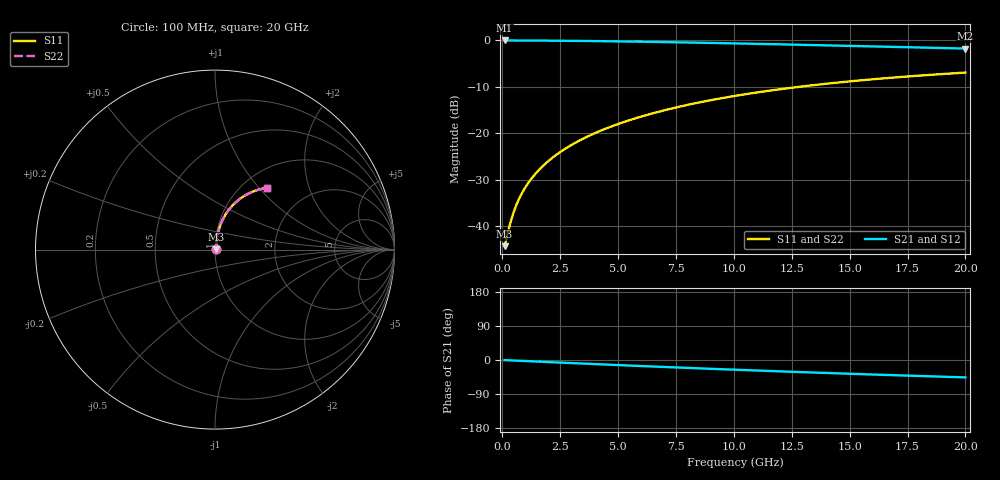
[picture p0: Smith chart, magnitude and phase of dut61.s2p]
! Touchstone file exported from HFSS 2024.1.0
!  File:  C:/UserFiles/LocalFiles/RDL_TSV_Batchsim/temp_RDL_bottom_61_1778693424.aedt
!  Generated:  01:33:02 AM May 14, 2026
!  Design:  RDL_bottom
!  Project:  temp_RDL_bottom_61_1778693424
!  Setup:  Setup1
!  Solution:  Sweep
! Variables:
!  dtsv = 10.80580581um
!  hbump = 3um
!  htsv = 84.22um
!  ldown = 607.99um
!  lrdl = 100um
!  p = 40
!  p1 = 51.73um
!  rhole = 1um
!  t = 450um
!  tdown = 2.17um
!  trdl = 3.915915916um
!  wdown = 18.7um
!  wrdl = 20um
# GHz S MA R 50.000000
! Terminal data exported
! Port[1] = RDL1_T1
! Port[2] = RDL1_T2
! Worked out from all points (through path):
!   200 points, 100 MHz to 20 GHz, reference 50 ohm
!   highest |S21| = -0.05 dB at 100 MHz (marker M1); lowest = -1.8 dB at 20 GHz (marker M2)
!   group delay of S21, straight-line fit = 6.36 ps
!   lowest |S11| = -44.2 dB at 100 MHz (marker M3), VSWR 1.01, Z = 50.6 + j0.271 ohm
!   |S11| at or under -10 dB: start of sweep to 12.83 GHz
!   |S22| runs from -44.2 to -7.0 dB; largest |S21 - S12| = 3e-15
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0.1  0.006147 25.9  0.9945 -0.3  0.9945 -0.3  0.006146 25.9
! Gamma 0 0 0 0
! Port Impedance 50 0 50 0
0.3  0.009851 54.0  0.9942 -0.9  0.9942 -0.9  0.009851 54.0
0.4  0.01213 60.4  0.994 -1.1  0.994 -1.1  0.01213 60.4
0.5  0.01448 64.6  0.9937 -1.4  0.9937 -1.4  0.01448 64.6
0.6  0.01685 67.6  0.9935 -1.7  0.9935 -1.7  0.01685 67.6
0.7  0.01924 69.8  0.9932 -2.0  0.9932 -2.0  0.01924 69.8
0.9  0.02401 72.9  0.9927 -2.5  0.9927 -2.5  0.02401 72.9
1.2  0.0312 75.7  0.9919 -3.3  0.9919 -3.3  0.0312 75.7
1.4  0.03602 76.9  0.9914 -3.9  0.9914 -3.9  0.03602 76.9
1.7  0.04329 78.1  0.9904 -4.7  0.9904 -4.7  0.04329 78.1
2.2  0.05553 79.3  0.9886 -6.0  0.9886 -6.0  0.05553 79.3
2.8  0.07039 79.8  0.986 -7.6  0.986 -7.6  0.07038 79.8
3.5  0.08791 79.8  0.9822 -9.5  0.9822 -9.5  0.0879 79.8
4.2  0.1056 79.3  0.9779 -11.3  0.9779 -11.3  0.1056 79.3
5  0.126 78.4  0.9722 -13.4  0.9722 -13.4  0.1259 78.4
5.9  0.1489 77.1  0.965 -15.7  0.965 -15.7  0.1489 77.1
6.8  0.1719 75.6  0.9572 -18.0  0.9572 -18.0  0.1719 75.6
8.4  0.2122 72.7  0.9419 -21.8  0.9419 -21.8  0.2122 72.7
10.1  0.2538 69.3  0.9243 -25.8  0.9243 -25.8  0.2537 69.3
13.4  0.3286 62.6  0.8879 -33.0  0.8879 -33.0  0.3285 62.5
16.7  0.3939 56.0  0.8506 -39.7  0.8506 -39.7  0.3938 56.0
20  0.4494 49.9  0.8141 -45.9  0.8141 -45.9  0.4492 49.9
